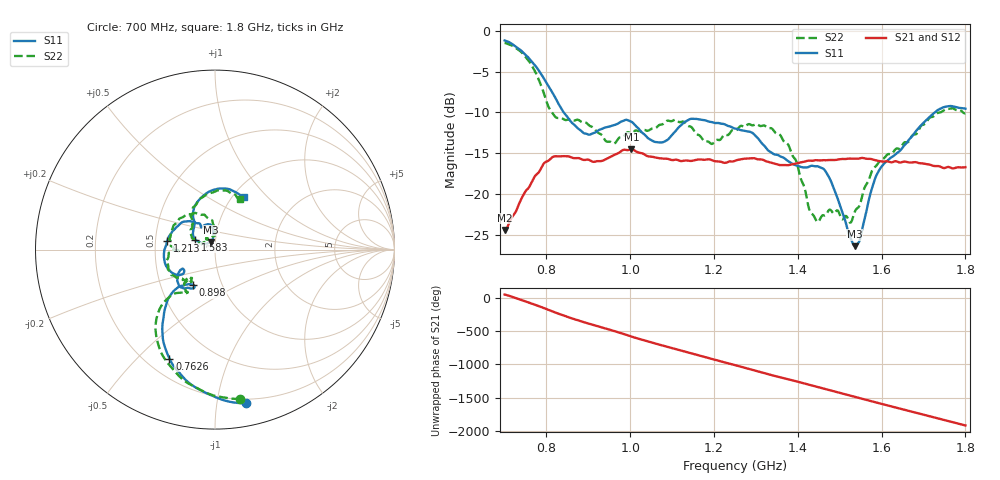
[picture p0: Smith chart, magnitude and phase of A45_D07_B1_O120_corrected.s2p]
! Created with skrf 1.9.0 (http://scikit-rf.org).
# Hz S RI R 50.0
!freq ReS11 ImS11 ReS21 ImS21 ReS12 ImS12 ReS22 ImS22
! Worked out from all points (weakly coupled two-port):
!   1601 points, 700 MHz to 1.8 GHz, reference 50 ohm
!   highest |S21| = -14.54 dB at 1.002 GHz (marker M1); lowest = -24.4 dB at 700 MHz (marker M2)
!   lowest |S11| = -26.4 dB at 1.536 GHz (marker M3), VSWR 1.10, Z = 47.7 + j4.04 ohm
!   |S11| at or under -10 dB: 841.1 MHz to 1.727 GHz (885.9 MHz wide, 69 % of centre)
!   |S22| runs from -23.5 to -1.5 dB; largest |S21 - S12| = 0.0034
!   S11 on the Smith chart (normalised r, x): 700 MHz: 0.17, -1.21; 762.6 MHz: 0.29, -0.63; 898 MHz: 0.73, -0.30; 1.213 GHz: 0.58, +0.06; 1.583 GHz: 0.80, +0.09; 1.8 GHz: 1.12, +0.74
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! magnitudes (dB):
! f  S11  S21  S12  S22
! 700 MHz  -1.2  -24.4  -24.2  -1.5
! 762.6 MHz  -3.6  -18.8  -18.8  -4.1
! 818.2 MHz  -7.9  -15.4  -15.5  -10.4
! 883.6 MHz  -12.3  -15.8  -15.7  -11.2
! 898 MHz  -12.7  -15.8  -15.9  -11.4
! 958.5 MHz  -11.6  -15.3  -15.3  -13.8
! 1.002 GHz  -11.1  -14.5  -14.6  -12.6
! 1.067 GHz  -13.7  -15.6  -15.6  -11.6
! 1.143 GHz  -10.8  -16.0  -15.9  -11.7
! 1.213 GHz  -11.3  -16.0  -16.0  -13.4
! 1.25 GHz  -12.0  -16.0  -15.9  -12.2
! 1.357 GHz  -15.4  -16.5  -16.4  -12.7
! 1.396 GHz  -16.5  -16.3  -16.3  -15.9
! 1.434 GHz  -16.6  -16.0  -15.9  -22.5
! 1.473 GHz  -17.8  -15.9  -15.9  -22.1
! 1.525 GHz  -25.3  -15.7  -15.7  -23.5
! 1.536 GHz  -26.4  -15.7  -15.7  -22.2
! 1.548 GHz  -25.6  -15.6  -15.6  -21.3
! 1.583 GHz  -18.2  -15.8  -15.8  -16.7
! 1.617 GHz  -15.8  -16.1  -16.0  -15.1
! 1.733 GHz  -9.7  -16.6  -16.6  -10.1
! 1.8 GHz  -9.5  -16.7  -16.7  -10.1
